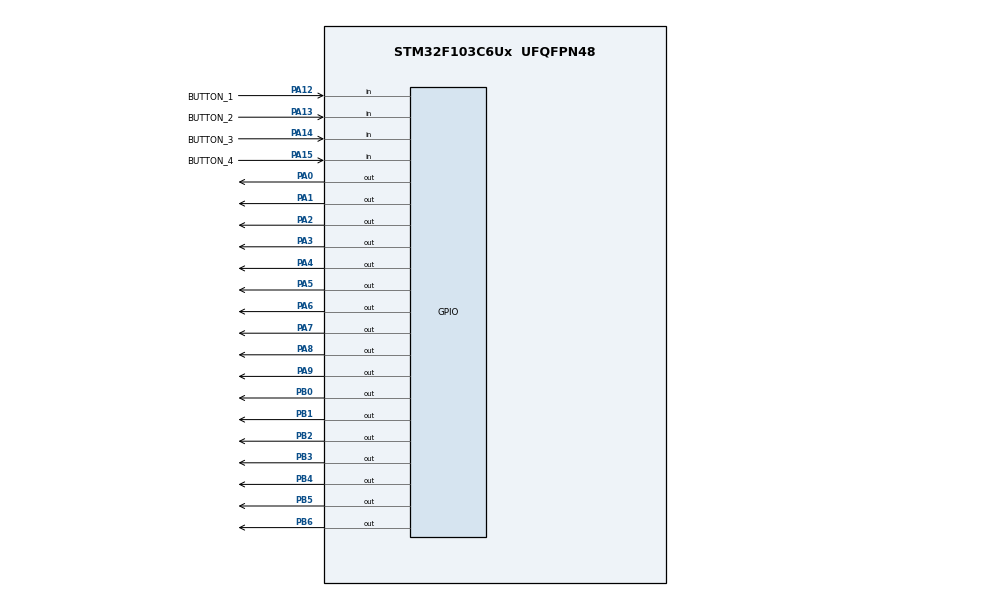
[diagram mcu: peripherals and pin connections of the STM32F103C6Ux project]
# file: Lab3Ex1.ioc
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Mcu.Family=STM32F1
Mcu.Name=STM32F103C6Ux
Mcu.Package=UFQFPN48
NVIC.PriorityGroup=NVIC_PRIORITYGROUP_4
NVIC.TIM2_IRQn=true\:0\:0\:false\:false\:true\:true\:true
PA0-WKUP.Signal=GPIO_Output
PA1.Signal=GPIO_Output
PA12.GPIO_Label=BUTTON_1
PA12.GPIO_PuPd=GPIO_PULLUP
PA12.Signal=GPIO_Input
PA13.GPIO_Label=BUTTON_2
PA13.GPIO_PuPd=GPIO_PULLUP
PA13.Signal=GPIO_Input
PA14.GPIO_Label=BUTTON_3
PA14.GPIO_PuPd=GPIO_PULLUP
PA14.Signal=GPIO_Input
PA15.GPIO_Label=BUTTON_4
PA15.GPIO_PuPd=GPIO_PULLUP
PA15.Signal=GPIO_Input
PA2.Signal=GPIO_Output
PA3.Signal=GPIO_Output
PA4.Signal=GPIO_Output
PA5.Signal=GPIO_Output
PA6.Signal=GPIO_Output
PA7.Signal=GPIO_Output
PA8.Signal=GPIO_Output
PA9.Signal=GPIO_Output
PB0.Signal=GPIO_Output
PB1.Signal=GPIO_Output
PB2.Signal=GPIO_Output
PB3.Signal=GPIO_Output
PB4.Signal=GPIO_Output
PB5.Signal=GPIO_Output
PB6.Signal=GPIO_Output
ProjectManager.HeapSize=0x200
ProjectManager.StackSize=0x400
ProjectManager.TargetToolchain=STM32CubeIDE
RCC.APB1Freq_Value=8000000
RCC.APB2Freq_Value=8000000
TIM2.AutoReloadPreload=TIM_AUTORELOAD_PRELOAD_ENABLE
TIM2.Period=9
TIM2.Prescaler=7999
VP_SYS_VS_ND.Mode=No_Debug
VP_TIM2_VS_ClockSourceINT.Mode=Internal
board=custom

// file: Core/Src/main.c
/* USER CODE BEGIN Header */
/**
  ******************************************************************************
  * @file           : main.c
  * @brief          : Main program body
  ******************************************************************************
  * @attention
  *
  * <h2><center>&copy; Copyright (c) 2022 STMicroelectronics.
  * All rights reserved.</center></h2>
  *
  * This software component is licensed by ST under BSD 3-Clause license,
  * the "License"; You may not use this file except in compliance with the
  * License. You may obtain a copy of the License at:
  *                        opensource.org/licenses/BSD-3-Clause
  *
  ******************************************************************************
  */
/* USER CODE END Header */
#include "main.h"

/* USER CODE BEGIN Includes */
#include "global.h"
#include "input_processing.h"
#include "input_reading.h"
#include "updateClockBuffer.h"
#include "Update7Seg.h"
#include "timer.h"
#include "fsm.h"

int status1 = INIT;
int status2 = INIT;
int status3 = RUNNING;
int RED_TIME=100;
int timer=10;
int GREEN_TIME=70;
int timer2=7;
int YELLOW_TIME=30;
/* USER CODE END Includes */

TIM_HandleTypeDef htim2;

void SystemClock_Config(void);
static void MX_TIM2_Init(void);
static void MX_GPIO_Init(void);

/* USER CODE BEGIN 0 */
const int MAX_LED = 4;
int index_led = 0;
int led_buffer [4];
int second,second1;

/* USER CODE END 0 */

int main(void)
{

  /* MCU Configuration--------------------------------------------------------*/

  /* Reset of all peripherals, Initializes the Flash interface and the Systick. */
  HAL_Init();

  /* Configure the system clock */
  SystemClock_Config();

  /* Initialize all configured peripherals */
  MX_TIM2_Init();
  MX_GPIO_Init();
  /* USER CODE BEGIN 2 */
  HAL_TIM_Base_Start_IT (& htim2 ) ;

  /* USER CODE END 2 */

  /* Infinite loop */
  /* USER CODE BEGIN WHILE */
  setTimer0 (1) ;
  setTimer3 (10) ;

  while (1)
  {

    /* USER CODE END WHILE */

    /* USER CODE BEGIN 3 */
	 fsm_automatic_run1();
	 fsm_automatic_run2();
	 fsm_automatic_run3();
	 if (timer3_flag==1){
		 timer3_flag=0;
		 updateClockBuffer () ;
		 update7SEG(index_led++);

		 setTimer3(20);
	 }

//	 fsm_for_input_processing () ;

  }
  /* USER CODE END 3 */
}

void SystemClock_Config(void)
{
  RCC_OscInitTypeDef RCC_OscInitStruct = {0};
  RCC_ClkInitTypeDef RCC_ClkInitStruct = {0};

  /** Initializes the RCC Oscillators according to the specified parameters
  * in the RCC_OscInitTypeDef structure.
  */
  RCC_OscInitStruct.OscillatorType = RCC_OSCILLATORTYPE_HSI;
  RCC_OscInitStruct.HSIState = RCC_HSI_ON;
  RCC_OscInitStruct.HSICalibrationValue = RCC_HSICALIBRATION_DEFAULT;
  RCC_OscInitStruct.PLL.PLLState = RCC_PLL_NONE;
  if (HAL_RCC_OscConfig(&RCC_OscInitStruct) != HAL_OK)
  {
    Error_Handler();
  }
  /** Initializes the CPU, AHB and APB buses clocks
  */
  RCC_ClkInitStruct.ClockType = RCC_CLOCKTYPE_HCLK|RCC_CLOCKTYPE_SYSCLK
                              |RCC_CLOCKTYPE_PCLK1|RCC_CLOCKTYPE_PCLK2;
  RCC_ClkInitStruct.SYSCLKSource = RCC_SYSCLKSOURCE_HSI;
  RCC_ClkInitStruct.AHBCLKDivider = RCC_SYSCLK_DIV1;
  RCC_ClkInitStruct.APB1CLKDivider = RCC_HCLK_DIV1;
  RCC_ClkInitStruct.APB2CLKDivider = RCC_HCLK_DIV1;

  if (HAL_RCC_ClockConfig(&RCC_ClkInitStruct, FLASH_LATENCY_0) != HAL_OK)
  {
    Error_Handler();
  }
}

static void MX_TIM2_Init(void)
{

  TIM_ClockConfigTypeDef sClockSourceConfig = {0};
  TIM_MasterConfigTypeDef sMasterConfig = {0};

  htim2.Instance = TIM2;
  htim2.Init.Prescaler = 7999;
  htim2.Init.CounterMode = TIM_COUNTERMODE_UP;
  htim2.Init.Period = 9;
  htim2.Init.ClockDivision = TIM_CLOCKDIVISION_DIV1;
  htim2.Init.AutoReloadPreload = TIM_AUTORELOAD_PRELOAD_ENABLE;
  if (HAL_TIM_Base_Init(&htim2) != HAL_OK)
  {
    Error_Handler();
  }
  sClockSourceConfig.ClockSource = TIM_CLOCKSOURCE_INTERNAL;
  if (HAL_TIM_ConfigClockSource(&htim2, &sClockSourceConfig) != HAL_OK)
  {
    Error_Handler();
  }
  sMasterConfig.MasterOutputTrigger = TIM_TRGO_RESET;
  sMasterConfig.MasterSlaveMode = TIM_MASTERSLAVEMODE_DISABLE;
  if (HAL_TIMEx_MasterConfigSynchronization(&htim2, &sMasterConfig) != HAL_OK)
  {
    Error_Handler();
  }

}

static void MX_GPIO_Init(void)
{
  GPIO_InitTypeDef GPIO_InitStruct = {0};

  /* GPIO Ports Clock Enable */
  __HAL_RCC_GPIOA_CLK_ENABLE();
  __HAL_RCC_GPIOB_CLK_ENABLE();

  /*Configure GPIO pin Output Level */
  HAL_GPIO_WritePin(GPIOA, GPIO_PIN_0|GPIO_PIN_1|GPIO_PIN_2|GPIO_PIN_3
                          |GPIO_PIN_4|GPIO_PIN_5|GPIO_PIN_6|GPIO_PIN_7
                          |GPIO_PIN_8|GPIO_PIN_9, GPIO_PIN_RESET);

  /*Configure GPIO pin Output Level */
  HAL_GPIO_WritePin(GPIOB, GPIO_PIN_0|GPIO_PIN_1|GPIO_PIN_2|GPIO_PIN_3
                          |GPIO_PIN_4|GPIO_PIN_5|GPIO_PIN_6, GPIO_PIN_RESET);

  /*Configure GPIO pins : PA0 PA1 PA2 PA3
                           PA4 PA5 PA6 PA7
                           PA8 PA9 */
  GPIO_InitStruct.Pin = GPIO_PIN_0|GPIO_PIN_1|GPIO_PIN_2|GPIO_PIN_3
                          |GPIO_PIN_4|GPIO_PIN_5|GPIO_PIN_6|GPIO_PIN_7
                          |GPIO_PIN_8|GPIO_PIN_9;
  GPIO_InitStruct.Mode = GPIO_MODE_OUTPUT_PP;
  GPIO_InitStruct.Pull = GPIO_NOPULL;
  GPIO_InitStruct.Speed = GPIO_SPEED_FREQ_LOW;
  HAL_GPIO_Init(GPIOA, &GPIO_InitStruct);

  /*Configure GPIO pins : PB0 PB1 PB2 PB3
                           PB4 PB5 PB6 */
  GPIO_InitStruct.Pin = GPIO_PIN_0|GPIO_PIN_1|GPIO_PIN_2|GPIO_PIN_3
                          |GPIO_PIN_4|GPIO_PIN_5|GPIO_PIN_6;
  GPIO_InitStruct.Mode = GPIO_MODE_OUTPUT_PP;
  GPIO_InitStruct.Pull = GPIO_NOPULL;
  GPIO_InitStruct.Speed = GPIO_SPEED_FREQ_LOW;
  HAL_GPIO_Init(GPIOB, &GPIO_InitStruct);

  /*Configure GPIO pins : BUTTON_1_Pin BUTTON_2_Pin BUTTON_3_Pin BUTTON_4_Pin */
  GPIO_InitStruct.Pin = BUTTON_1_Pin|BUTTON_2_Pin|BUTTON_3_Pin|BUTTON_4_Pin;
  GPIO_InitStruct.Mode = GPIO_MODE_INPUT;
  GPIO_InitStruct.Pull = GPIO_PULLUP;
  HAL_GPIO_Init(GPIOA, &GPIO_InitStruct);

}

/* USER CODE BEGIN 4 */
void HAL_TIM_PeriodElapsedCallback ( TIM_HandleTypeDef * htim )
{
	if( htim -> Instance == TIM2 ){
		timerRun0();
		timerRun1();
		timerRun2();
		timerRun3();
		button_reading();

//		button_reading () ;
	}

}

/* USER CODE END 4 */

void Error_Handler(void)
{
  __disable_irq();
  while (1)
  {
  }
}

/************************ (C) COPYRIGHT STMicroelectronics *****END OF FILE****/
